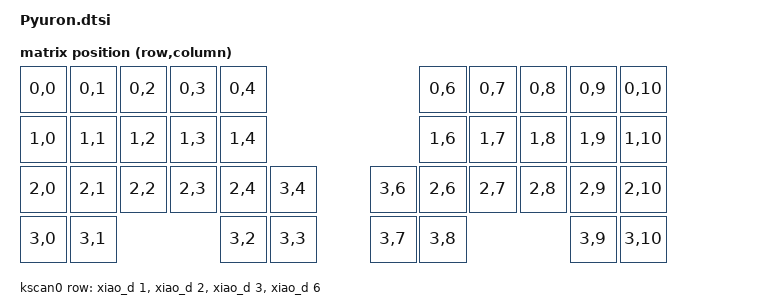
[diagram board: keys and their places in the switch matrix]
#include <dt-bindings/zmk/matrix_transform.h>
#include <dt-bindings/zmk/input_transform.h>
#include <dt-bindings/input/input-event-codes.h>
#include <dt-bindings/zmk/bt.h>
#include <input/processors.dtsi>
#include <physical_layouts.dtsi>

/ {
    chosen {
        zmk,physical-layout = &default_layout;
    };

    // キーマトリックス設定
    default_transform: keymap_transform_0 {
        compatible = "zmk,matrix-transform";
        columns = <11>;
        rows = <4>;               
        map = <
            RC(0,0) RC(0,1) RC(0,2) RC(0,3) RC(0,4)                     RC(0,6) RC(0,7) RC(0,8) RC(0,9) RC(0,10)
            RC(1,0) RC(1,1) RC(1,2) RC(1,3) RC(1,4)                     RC(1,6) RC(1,7) RC(1,8) RC(1,9) RC(1,10)
            RC(2,0) RC(2,1) RC(2,2) RC(2,3) RC(2,4) RC(3,4)     RC(3,6) RC(2,6) RC(2,7) RC(2,8) RC(2,9) RC(2,10)
            RC(3,0) RC(3,1)                 RC(3,2) RC(3,3)     RC(3,7) RC(3,8)                 RC(3,9) RC(3,10)
        >;
    };

    default_layout: default_layout {
        compatible = "zmk,physical-layout";
        display-name = "Default";
        kscan = <&kscan0>;
        transform = <&default_transform>;

        keys  //                     w   h    x    y     rot    rx    ry
            = <&key_physical_attrs 100 100    0    0       0     0     0>
            , <&key_physical_attrs 100 100  100    0       0     0     0>
            , <&key_physical_attrs 100 100  200    0       0     0     0>
            , <&key_physical_attrs 100 100  300    0       0     0     0>
            , <&key_physical_attrs 100 100  400    0       0     0     0>
            , <&key_physical_attrs 100 100  800    0       0     0     0>
            , <&key_physical_attrs 100 100  900    0       0     0     0>
            , <&key_physical_attrs 100 100 1000    0       0     0     0>
            , <&key_physical_attrs 100 100 1100    0       0     0     0>
            , <&key_physical_attrs 100 100 1200    0       0     0     0>
            , <&key_physical_attrs 100 100    0  100       0     0     0>
            , <&key_physical_attrs 100 100  100  100       0     0     0>
            , <&key_physical_attrs 100 100  200  100       0     0     0>
            , <&key_physical_attrs 100 100  300  100       0     0     0>
            , <&key_physical_attrs 100 100  400  100       0     0     0>
            , <&key_physical_attrs 100 100  800  100       0     0     0>
            , <&key_physical_attrs 100 100  900  100       0     0     0>
            , <&key_physical_attrs 100 100 1000  100       0     0     0>
            , <&key_physical_attrs 100 100 1100  100       0     0     0>
            , <&key_physical_attrs 100 100 1200  100       0     0     0>
            , <&key_physical_attrs 100 100    0  200       0     0     0>
            , <&key_physical_attrs 100 100  100  200       0     0     0>
            , <&key_physical_attrs 100 100  200  200       0     0     0>
            , <&key_physical_attrs 100 100  300  200       0     0     0>
            , <&key_physical_attrs 100 100  400  200       0     0     0>
            , <&key_physical_attrs 100 100  500  200       0     0     0>
            , <&key_physical_attrs 100 100  700  200       0     0     0>
            , <&key_physical_attrs 100 100  800  200       0     0     0>
            , <&key_physical_attrs 100 100  900  200       0     0     0>
            , <&key_physical_attrs 100 100 1000  200       0     0     0>
            , <&key_physical_attrs 100 100 1100  200       0     0     0>
            , <&key_physical_attrs 100 100 1200  200       0     0     0>
            , <&key_physical_attrs 100 100    0  300       0     0     0>
            , <&key_physical_attrs 100 100  100  300       0     0     0>
            , <&key_physical_attrs 100 100  400  300       0     0     0>
            , <&key_physical_attrs 100 100  500  300       0     0     0>
            , <&key_physical_attrs 100 100  700  300       0     0     0>
            , <&key_physical_attrs 100 100  800  300       0     0     0>
            , <&key_physical_attrs 100 100 1100  300       0     0     0>
            , <&key_physical_attrs 100 100 1200  300       0     0     0>
            ;
    };

    kscan0: kscan {
        compatible = "zmk,kscan-gpio-matrix";
        label = "KSCAN";
        diode-direction = "col2row";
        row-gpios
            = <&xiao_d 1 (GPIO_ACTIVE_HIGH | GPIO_PULL_DOWN)> 
            , <&xiao_d 2 (GPIO_ACTIVE_HIGH | GPIO_PULL_DOWN)> 
            , <&xiao_d 3 (GPIO_ACTIVE_HIGH | GPIO_PULL_DOWN)> 
            , <&xiao_d 6 (GPIO_ACTIVE_HIGH | GPIO_PULL_DOWN)> 			
            ;
    };

    // 共通のトラックボール設定
    trackball: trackball@0 {
        compatible = "pixart,pmw3610";
        reg = <0>;
        spi-max-frequency = <2000000>;
        irq-gpios = <&gpio0 2 (GPIO_ACTIVE_LOW | GPIO_PULL_UP)>;
        cpi = <800>;
        evt-type = <INPUT_EV_REL>;
        x-input-code = <INPUT_REL_X>;
        y-input-code = <INPUT_REL_Y>;
        force-awake;
    };

    // 共通のトラックパッド設定
    glidepoint: glidepoint@2a {
        compatible = "cirque,pinnacle";
        reg = <0x2a>;
        /* Optional: data ready pin if wired */
        /* dr-gpios = <&gpio1 10 (GPIO_ACTIVE_HIGH | GPIO_PULL_UP)>; */
    };

    // 入力処理の設定
    split_inputs {
        #address-cells = <1>;
        #size-cells = <1>;

        // 左側からのトラックボール入力をスクロールとして処理
        trackball_split: trackball_split@0 {
            compatible = "zmk,input-split";
            reg = <0 0>;
        };

        // 右側のトラックパッド入力をカーソル移動として処理
        glidepoint_split: glidepoint_split@1 {
            compatible = "zmk,input-split";
            reg = <1 0>;
        };
    };

    // トラックボール用のスクロールリスナー（左側基本動作）
    trackball_listener: trackball_listener {
        compatible = "zmk,input-listener";
        status = "disabled";
        device = <&trackball_split>;
        scroll {
            layers = <0>;  // レイヤー0でスクロール
            input-processors = <&zip_xy_transform (INPUT_TRANSFORM_Y_INVERT)>, 
                               <&zip_xy_transform (INPUT_TRANSFORM_X_INVERT)>, 
                               <&zip_xy_scaler 1 16>, 
                               <&zip_xy_to_scroll_mapper>;
        };
    };

    // トラックボール用のポインターリスナー（左側の代替動作）
    trackball_pointer_listener: trackball_pointer_listener {
        compatible = "zmk,input-listener";
        status = "disabled";
        device = <&trackball_split>;
        pointer {
            layers = <1>;  // レイヤー1でカーソル移動
            input-processors = <&zip_xy_transform (INPUT_TRANSFORM_Y_INVERT)>,
                               <&zip_xy_transform (INPUT_TRANSFORM_X_INVERT)>,
                               <&zip_xy_scaler 1 8>;
        };
    };

    // トラックパッド用のポインターリスナー（右側基本動作）
    glidepoint_pointer_listener: glidepoint_pointer_listener {
        compatible = "zmk,input-listener";
        status = "disabled";
        device = <&glidepoint_split>;
        pointer {
            layers = <0>;  // レイヤー0でカーソル移動
            input-processors = <&zip_xy_transform (INPUT_TRANSFORM_Y_INVERT)>,
                               <&zip_xy_transform (INPUT_TRANSFORM_X_INVERT)>,
                               <&zip_xy_scaler 1 12>;
        };
    };

    // トラックパッド用のスクロールリスナー（右側の代替動作）
    glidepoint_scroll_listener: glidepoint_scroll_listener {
        compatible = "zmk,input-listener";
        status = "disabled";
        device = <&glidepoint_split>;
        scroll {
            layers = <1>;  // レイヤー1でスクロール
            input-processors = <&zip_xy_transform (INPUT_TRANSFORM_Y_INVERT)>,
                               <&zip_xy_transform (INPUT_TRANSFORM_X_INVERT)>,
                               <&zip_xy_scaler 1 20>, 
                               <&zip_xy_to_scroll_mapper>;
        };
    };
};
